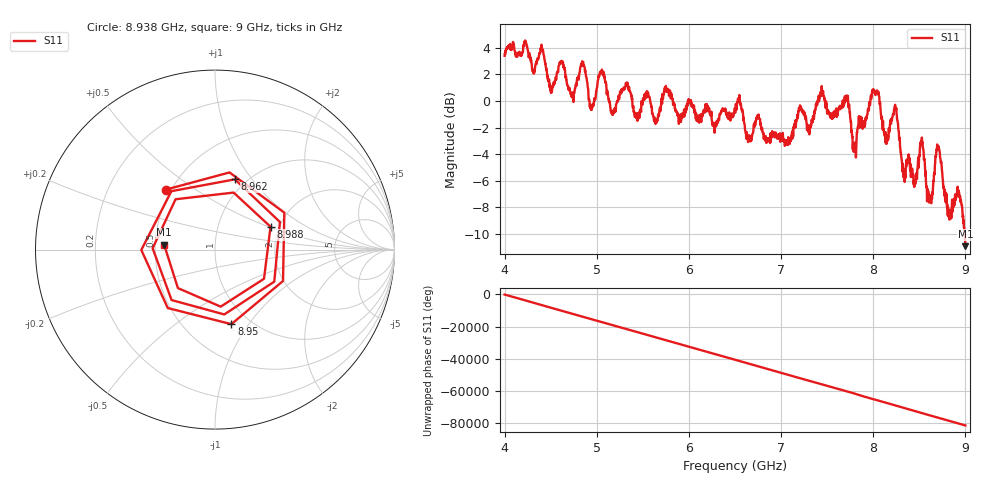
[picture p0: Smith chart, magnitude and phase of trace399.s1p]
! Created with skrf 1.8.0 (http://scikit-rf.org).
# Hz S RI R 50.0
!freq ReS11 ImS11
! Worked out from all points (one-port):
!   1601 points, 4 GHz to 9 GHz, reference 50 ohm
!   lowest |S11| = -10.9 dB at 9 GHz (marker M1), VSWR 1.80, Z = 27.9 + j1.67 ohm
!   |S11| at or under -10 dB: 8.994435 GHz to end of sweep
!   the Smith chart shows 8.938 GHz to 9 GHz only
!   S11 on the Smith chart (normalised r, x): 8.938 GHz: 0.47, +0.38; 8.95 GHz: 0.82, -0.83; 8.962 GHz: 0.88, +0.83; 8.988 GHz: 1.80, +0.52; 9 GHz: 0.56, +0.03
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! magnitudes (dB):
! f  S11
! 4 GHz  3.4
! 4.403 GHz  4.0
! 4.512 GHz  0.6
! 4.625 GHz  2.8
! 4.734 GHz  0.6
! 4.853 GHz  2.9
! 4.944 GHz  -0.7
! 5.053 GHz  2.2
! 5.169 GHz  -0.9
! 5.25 GHz  0.4
! 5.875 GHz  -1.1
! 6.5 GHz  -0.7
! 7.125 GHz  -2.5
! 7.441 GHz  1.1
! 7.75 GHz  -1.3
! 7.8 GHz  -3.2
! 8.034 GHz  0.6
! 8.375 GHz  -4.6
! 8.456 GHz  -6.2
! 8.531 GHz  -3.2
! 8.616 GHz  -7.2
! 8.703 GHz  -3.5
! 8.825 GHz  -8.9
! 8.938 GHz  -7.3
! 8.95 GHz  -7.4
! 8.962 GHz  -7.8
! 8.988 GHz  -9.5
! 9 GHz  -10.9
